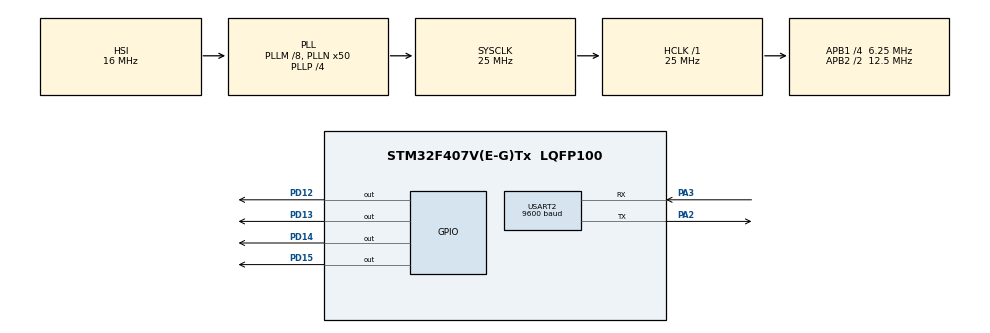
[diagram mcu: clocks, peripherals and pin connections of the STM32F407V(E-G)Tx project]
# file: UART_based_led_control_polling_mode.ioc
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Mcu.Family=STM32F4
Mcu.Name=STM32F407V(E-G)Tx
Mcu.Package=LQFP100
NVIC.PriorityGroup=NVIC_PRIORITYGROUP_0
PA2.Mode=Asynchronous
PA2.Signal=USART2_TX
PA3.Mode=Asynchronous
PA3.Signal=USART2_RX
PD12.Signal=GPIO_Output
PD13.Signal=GPIO_Output
PD14.Signal=GPIO_Output
PD15.Signal=GPIO_Output
ProjectManager.HeapSize=0x200
ProjectManager.StackSize=0x400
ProjectManager.TargetToolchain=STM32CubeIDE
RCC.48MHZClocksFreq_Value=14285714.285714285
RCC.AHBFreq_Value=25000000
RCC.APB1CLKDivider=RCC_HCLK_DIV4
RCC.APB1Freq_Value=6250000
RCC.APB1TimFreq_Value=12500000
RCC.APB2CLKDivider=RCC_HCLK_DIV2
RCC.APB2Freq_Value=12500000
RCC.APB2TimFreq_Value=25000000
RCC.CortexFreq_Value=25000000
RCC.HCLKFreq_Value=25000000
RCC.HSE_VALUE=8000000
RCC.HSI_VALUE=16000000
RCC.LSE_VALUE=32768
RCC.PLLM=8
RCC.PLLN=50
RCC.PLLP=RCC_PLLP_DIV4
RCC.PLLQ=7
RCC.SYSCLKFreq_VALUE=25000000
RCC.SYSCLKSource=RCC_SYSCLKSOURCE_PLLCLK
RCC.VCOOutputFreq_Value=100000000
USART2.BaudRate=9600
USART2.VirtualMode=VM_ASYNC
board=STM32F407G-DISC1

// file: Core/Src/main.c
/* USER CODE BEGIN Header */
/**
  ******************************************************************************
  * @file           : main.c
  * @brief          : Main program body
  ******************************************************************************
  * @attention
  *
  * Copyright (c) 2025 STMicroelectronics.
  * All rights reserved.
  *
  * This software is licensed under terms that can be found in the LICENSE file
  * in the root directory of this software component.
  * If no LICENSE file comes with this software, it is provided AS-IS.
  *
  ******************************************************************************
  */
/* USER CODE END Header */
#include "main.h"

/* USER CODE BEGIN Includes */

#define MAX_LEN 100
char rx_string[MAX_LEN];
uint8_t rx_byte;
uint16_t rx_index = 0;

/* USER CODE END Includes */

UART_HandleTypeDef huart2;

void SystemClock_Config(void);
static void MX_GPIO_Init(void);
static void MX_USART2_UART_Init(void);

int main(void)
{

  /* MCU Configuration--------------------------------------------------------*/

  /* Reset of all peripherals, Initializes the Flash interface and the Systick. */
  HAL_Init();

  /* Configure the system clock */
  SystemClock_Config();

  /* Initialize all configured peripherals */
  MX_GPIO_Init();
  MX_USART2_UART_Init();
  /* USER CODE BEGIN 2 */
  char msg[] = "Hello sunbeam...\r\n";
   HAL_UART_Transmit(&huart2, ( uint8_t *)msg,strlen(msg),HAL_MAX_DELAY);

  /* USER CODE END 2 */

  /* Infinite loop */
  while (1)
  {

    /* USER CODE BEGIN 3 */
	  /* Receive one byte (blocking polling) */
	       HAL_UART_Receive(&huart2, &rx_byte, 1, HAL_MAX_DELAY);

	       /* Echo received byte */
	       HAL_UART_Transmit(&huart2, &rx_byte, 1, HAL_MAX_DELAY);

	       /* ENTER key handling */
	       if (rx_byte == '\r')
	       {
	           rx_string[rx_index] = '\0';   // terminate string

	           char msg1[] = "\r\nYou sent: ";
	           HAL_UART_Transmit(&huart2, (uint8_t*)msg1, strlen(msg1), HAL_MAX_DELAY);
	           HAL_UART_Transmit(&huart2, (uint8_t*)rx_string, strlen(rx_string), HAL_MAX_DELAY);

	           if( strcmp (rx_string , "LED_RED")==0)
	           {
	        	   HAL_GPIO_TogglePin(GPIOD, GPIO_PIN_14);
	        	   HAL_Delay(1000);
	        	   char msg1[50] = "\nRED led is glowing...\r\n";
	        	   HAL_UART_Transmit(&huart2, (uint8_t*)msg1, strlen(msg1), HAL_MAX_DELAY);

	        	   char msg4[50] = "\r\n";
	        	   HAL_UART_Transmit(&huart2, (uint8_t*)msg4, strlen(msg4), HAL_MAX_DELAY);
	            }
	           else if(strcmp(rx_string , "LED_Orange")==0)
	           {
	        	   HAL_GPIO_TogglePin(GPIOD, GPIO_PIN_13);
	        	   HAL_Delay(1000);
	        	   char msg2[50] = "\nOrange led is glowing...\r\n";
	        	   HAL_UART_Transmit(&huart2, (uint8_t*)msg2, strlen(msg2), HAL_MAX_DELAY);

	        	   char msg5[50] = "\r\n";
	        	  	HAL_UART_Transmit(&huart2, (uint8_t*)msg5, strlen(msg5), HAL_MAX_DELAY);
	           }
	           else
	           {
	        	   char msg3[50] = "\nInvalid command....\r\n";
	        		HAL_UART_Transmit(&huart2, (uint8_t*)msg3, strlen(msg3), HAL_MAX_DELAY);
	           }
	           rx_index = 0;

	       }
	            else
	            {
	                /* Store character */
	                if (rx_index < MAX_LEN - 1)
	                {
	                    rx_string[rx_index++] = rx_byte;
	                }
	            }
  }
  /* USER CODE END 3 */
}

void SystemClock_Config(void)
{
  RCC_OscInitTypeDef RCC_OscInitStruct = {0};
  RCC_ClkInitTypeDef RCC_ClkInitStruct = {0};

  /** Configure the main internal regulator output voltage
  */
  __HAL_RCC_PWR_CLK_ENABLE();
  __HAL_PWR_VOLTAGESCALING_CONFIG(PWR_REGULATOR_VOLTAGE_SCALE1);

  /** Initializes the RCC Oscillators according to the specified parameters
  * in the RCC_OscInitTypeDef structure.
  */
  RCC_OscInitStruct.OscillatorType = RCC_OSCILLATORTYPE_HSI;
  RCC_OscInitStruct.HSIState = RCC_HSI_ON;
  RCC_OscInitStruct.HSICalibrationValue = RCC_HSICALIBRATION_DEFAULT;
  RCC_OscInitStruct.PLL.PLLState = RCC_PLL_ON;
  RCC_OscInitStruct.PLL.PLLSource = RCC_PLLSOURCE_HSI;
  RCC_OscInitStruct.PLL.PLLM = 8;
  RCC_OscInitStruct.PLL.PLLN = 50;
  RCC_OscInitStruct.PLL.PLLP = RCC_PLLP_DIV4;
  RCC_OscInitStruct.PLL.PLLQ = 7;
  if (HAL_RCC_OscConfig(&RCC_OscInitStruct) != HAL_OK)
  {
    Error_Handler();
  }

  /** Initializes the CPU, AHB and APB buses clocks
  */
  RCC_ClkInitStruct.ClockType = RCC_CLOCKTYPE_HCLK|RCC_CLOCKTYPE_SYSCLK
                              |RCC_CLOCKTYPE_PCLK1|RCC_CLOCKTYPE_PCLK2;
  RCC_ClkInitStruct.SYSCLKSource = RCC_SYSCLKSOURCE_PLLCLK;
  RCC_ClkInitStruct.AHBCLKDivider = RCC_SYSCLK_DIV1;
  RCC_ClkInitStruct.APB1CLKDivider = RCC_HCLK_DIV4;
  RCC_ClkInitStruct.APB2CLKDivider = RCC_HCLK_DIV2;

  if (HAL_RCC_ClockConfig(&RCC_ClkInitStruct, FLASH_LATENCY_0) != HAL_OK)
  {
    Error_Handler();
  }
}

static void MX_USART2_UART_Init(void)
{

  huart2.Instance = USART2;
  huart2.Init.BaudRate = 9600;
  huart2.Init.WordLength = UART_WORDLENGTH_8B;
  huart2.Init.StopBits = UART_STOPBITS_1;
  huart2.Init.Parity = UART_PARITY_NONE;
  huart2.Init.Mode = UART_MODE_TX_RX;
  huart2.Init.HwFlowCtl = UART_HWCONTROL_NONE;
  huart2.Init.OverSampling = UART_OVERSAMPLING_16;
  if (HAL_UART_Init(&huart2) != HAL_OK)
  {
    Error_Handler();
  }

}

static void MX_GPIO_Init(void)
{
  GPIO_InitTypeDef GPIO_InitStruct = {0};

  /* GPIO Ports Clock Enable */
  __HAL_RCC_GPIOA_CLK_ENABLE();
  __HAL_RCC_GPIOD_CLK_ENABLE();

  /*Configure GPIO pin Output Level */
  HAL_GPIO_WritePin(GPIOD, GPIO_PIN_12|GPIO_PIN_13|GPIO_PIN_14|GPIO_PIN_15, GPIO_PIN_RESET);

  /*Configure GPIO pins : PD12 PD13 PD14 PD15 */
  GPIO_InitStruct.Pin = GPIO_PIN_12|GPIO_PIN_13|GPIO_PIN_14|GPIO_PIN_15;
  GPIO_InitStruct.Mode = GPIO_MODE_OUTPUT_PP;
  GPIO_InitStruct.Pull = GPIO_NOPULL;
  GPIO_InitStruct.Speed = GPIO_SPEED_FREQ_LOW;
  HAL_GPIO_Init(GPIOD, &GPIO_InitStruct);

}

void Error_Handler(void)
{
  __disable_irq();
  while (1)
  {
  }
}
